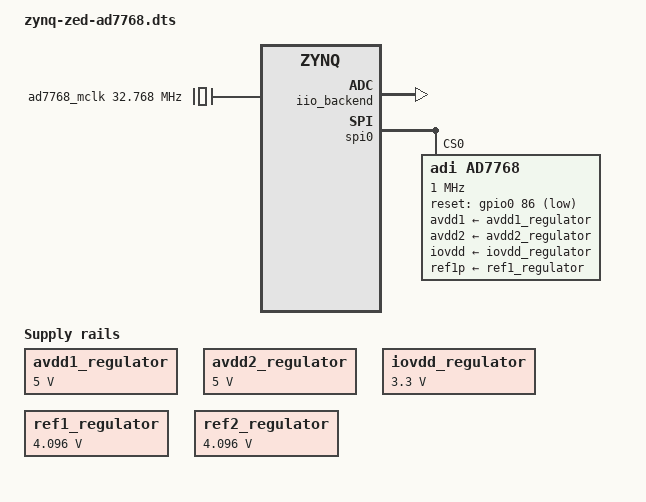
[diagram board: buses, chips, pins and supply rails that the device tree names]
// SPDX-License-Identifier: GPL-2.0
/dts-v1/;
#include "zynq-zed.dts"

#include <dt-bindings/gpio/gpio.h>
#include <dt-bindings/interrupt-controller/irq.h>

/ {
	avdd1_regulator: avdd1-regulator {
		compatible = "regulator-fixed";
		regulator-name = "avdd1";
		regulator-min-microvolt = <5000000>;
		regulator-max-microvolt = <5000000>;
		regulator-always-on;
	};

	avdd2_regulator: avdd2-regulator {
		compatible = "regulator-fixed";
		regulator-name = "avdd2";
		regulator-min-microvolt = <5000000>;
		regulator-max-microvolt = <5000000>;
		regulator-always-on;
	};

	iovdd_regulator: iovdd-regulator {
		compatible = "regulator-fixed";
		regulator-name = "iovdd";
		regulator-min-microvolt = <3300000>;
		regulator-max-microvolt = <3300000>;
		regulator-always-on;
	};

	ref1_regulator: ref1-regulator {
		compatible = "regulator-fixed";
		regulator-name = "ref1";
		regulator-min-microvolt = <4096000>;
		regulator-max-microvolt = <4096000>;
		regulator-always-on;
	};

	ref2_regulator: ref2-regulator {
		compatible = "regulator-fixed";
		regulator-name = "ref2";
		regulator-min-microvolt = <4096000>;
		regulator-max-microvolt = <4096000>;
		regulator-always-on;
	};

	clocks {
		ad7768_mclk: clock@0 {
			#clock-cells = <0>;
			compatible = "fixed-clock";
			clock-frequency = <32768000>;
		};

		axi_clk: clock@1 {
			compatible = "fixed-clock";
			clock-frequency = <100000000>;
			clock-output-names = "axi-clk";
			#clock-cells = <0>;
		};
	};

	fpga-axi@0 {
		compatible = "simple-bus";
		#address-cells = <0x1>;
		#size-cells = <0x1>;
		ranges;

		rx_dma: dmac@7c480000 {
			compatible = "adi,axi-dmac-1.00.a";
			reg = <0x7c480000 0x1000>;
			#dma-cells = <1>;
			interrupt-parent = <&intc>;
			interrupts = <0 54 IRQ_TYPE_LEVEL_HIGH>;
			clocks = <&clkc 16>;

			adi,channels {
				#size-cells = <0>;
				#address-cells = <1>;

				dma_channel: dma-channel@0 {
					reg = <0>;
					adi,source-bus-width = <128>;
					adi,source-bus-type = <2>;
					adi,destination-bus-width = <64>;
					adi,destination-bus-type = <0>;
				};
			};
		};

		iio_backend: axi_adc@43c00000 {
			compatible = "adi,axi-adc-10.0.a";
			reg = <0x43c00000 0x10000>;
			dmas = <&rx_dma 0>;
			dma-names = "rx";
			clocks = <&axi_clk>;
			spibus-connected = <&ad7768>;
		};
	};
};

&gpio0 {
	status = "okay";
};

&spi0 {
	status = "okay";

	ad7768: adc@0 {
		compatible = "adi,ad7768";
		reg = <0>;
		spi-max-frequency = <1000000>;

		avdd1-supply = <&avdd1_regulator>;
		avdd2-supply = <&avdd2_regulator>;
		iovdd-supply = <&iovdd_regulator>;
		ref1p-supply = <&ref1_regulator>;
		ref2p-supply = <&ref2_regulator>;
		reset-gpios = <&gpio0 86 GPIO_ACTIVE_LOW>;
		clocks = <&ad7768_mclk>;
		clock-names = "mclk";
		adi,data-lines-number = <8>;

		io-backends = <&iio_backend>;

		#address-cells = <1>;
		#size-cells = <0>;

		channel@0 {
			reg = <0>;
		};

		channel@1 {
			reg = <1>;
		};

		channel@2 {
			reg = <2>;
		};

		channel@3 {
			reg = <3>;
		};

		channel@4 {
			reg = <4>;
		};

		channel@5 {
			reg = <5>;
		};

		channel@6 {
			reg = <6>;
		};

		channel@7 {
			reg = <7>;
		};
	};
};
